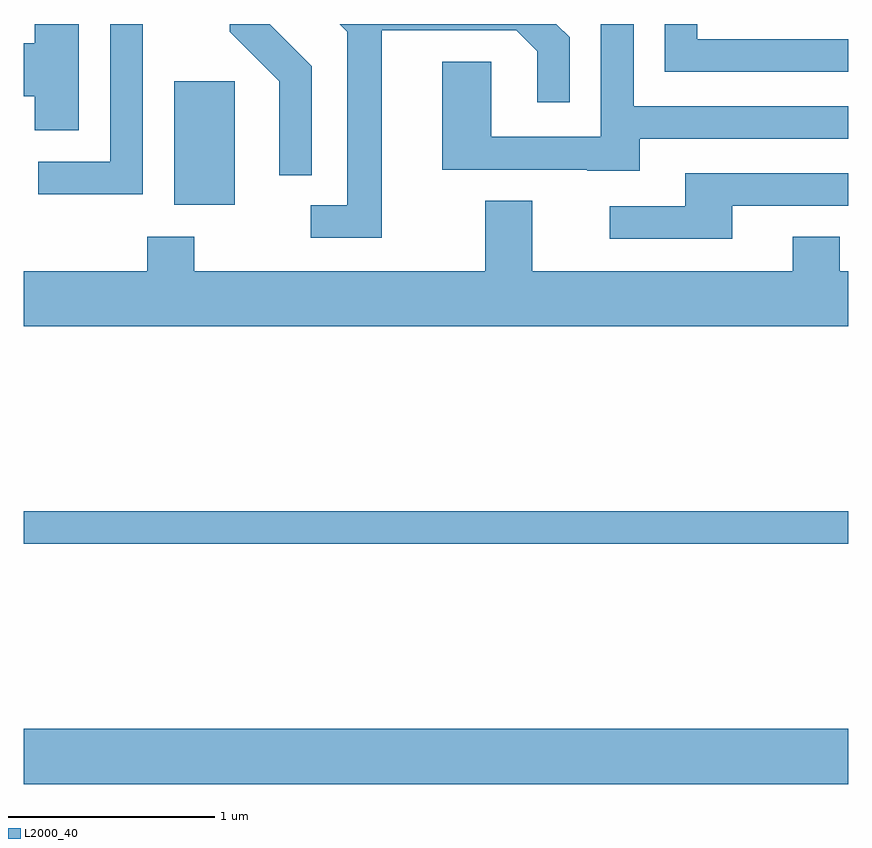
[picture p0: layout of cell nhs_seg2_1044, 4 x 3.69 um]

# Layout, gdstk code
import gdstk
lib = gdstk.Library(unit=1e-6, precision=1e-09)
def R(c, l, rs):  # rectangles x0, y0, x1, y1
    for r in rs: c.add(gdstk.rectangle(r[:2], r[2:], *l))
def P(c, l, *ps):  # polygons
    for p in ps: c.add(gdstk.Polygon(p, *l))
L2000_40 = (2000, 40)

nhs_seg2_1044 = lib.new_cell('nhs_seg2_1044')
R(nhs_seg2_1044, L2000_40, [(215.611,1026.116,219.611,1026.384), (215.611,1027.281,219.611,1027.439), (216.341,1028.926,216.634,1029.524)])
P(nhs_seg2_1044, L2000_40, [(215.879,1029.802),(215.666,1029.802),(215.666,1029.709),(215.611,1029.709),(215.611,1029.451),(215.666,1029.451),(215.666,1029.286),(215.879,1029.286)],
  [(216.189,1029.802),(216.031,1029.802),(216.031,1029.134),(215.683,1029.134),(215.683,1028.976),(216.189,1028.976)],
  [(217.009,1029.597),(216.804,1029.802),(216.611,1029.802),(216.611,1029.764),(216.851,1029.524),(216.851,1029.068),(217.009,1029.068)],
  [(219.611,1029.729),(218.879,1029.729),(218.879,1029.802),(218.721,1029.802),(218.721,1029.571),(219.611,1029.571)],
  [(217.349,1029.771),(217.999,1029.771),(218.101,1029.669),(218.101,1029.423),(218.259,1029.423),(218.259,1029.737),(218.194,1029.802),(217.143,1029.802),(217.181,1029.764),(217.181,1028.924),(217.003,1028.924),(217.003,1028.766),(217.349,1028.766)],
  [(218.599,1029.246),(219.611,1029.246),(219.611,1029.404),(218.569,1029.404),(218.569,1029.802),(218.411,1029.802),(218.411,1029.254),(217.879,1029.254),(217.879,1029.619),(217.641,1029.619),(217.641,1029.096),(218.345,1029.096),(218.345,1029.091),(218.599,1029.091)],
  [(219.049,1028.921),(219.611,1028.921),(219.611,1029.079),(218.821,1029.079),(218.821,1028.919),(218.453,1028.919),(218.453,1028.761),(219.049,1028.761)],
  [(219.611,1028.604),(219.569,1028.604),(219.569,1028.769),(219.341,1028.769),(219.341,1028.604),(218.079,1028.604),(218.079,1028.944),(217.851,1028.944),(217.851,1028.604),(216.439,1028.604),(216.439,1028.769),(216.211,1028.769),(216.211,1028.604),(215.611,1028.604),(215.611,1028.336),(219.611,1028.336)])

lib.write_gds('nhs_seg2_1044.gds')
